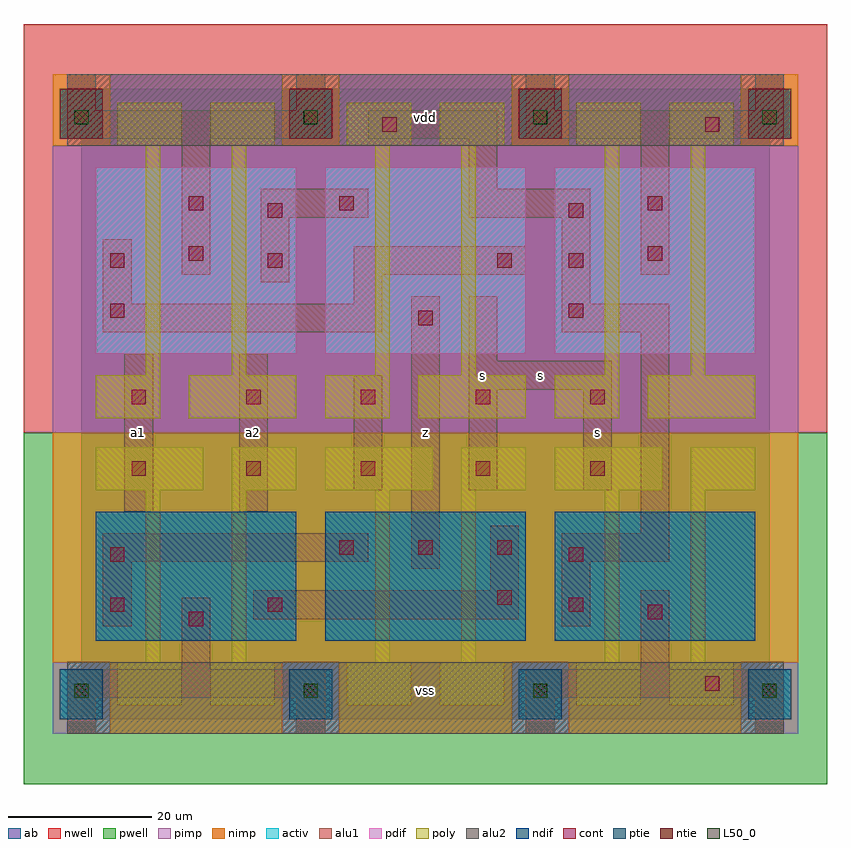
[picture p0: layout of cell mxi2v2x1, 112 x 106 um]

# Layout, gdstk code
import gdstk
lib = gdstk.Library(unit=1e-6, precision=1e-09)
def R(c, l, rs):  # rectangles x0, y0, x1, y1
    for r in rs: c.add(gdstk.rectangle(r[:2], r[2:], *l))
def A(c, l, x, y, w, h, nx, ny, dx, dy):  # array of equal rectangles
    R(c, l, [(x+i*dx, y+j*dy, x+i*dx+w, y+j*dy+h) for i in range(nx) for j in range(ny)])
ndif = (3, 0)
pdif = (4, 0)
ntie = (5, 0)
ptie = (6, 0)
cont = (25, 0)
pwell = (41, 0)
nwell = (42, 0)
activ = (43, 0)
pimp = (44, 0)
nimp = (45, 0)
poly = (46, 0)
alu1 = (49, 0)
L50_0 = (50, 0)
alu2 = (51, 0)
ab = (63, 0)

mxi2v2x1 = lib.new_cell('mxi2v2x1')
A(mxi2v2x1, ndif, 2, 11, 28, 18, 3, 1, 32, 0)
A(mxi2v2x1, pdif, 2, 51, 28, 26, 3, 1, 32, 0)
A(mxi2v2x1, ntie, -3, 81, 6, 7, 4, 1, 32, 0)
A(mxi2v2x1, ptie, -3, 0, 6, 7, 4, 1, 32, 0)
A(mxi2v2x1, cont, -1, 3, 2, 2, 4, 2, 32, 80)
A(mxi2v2x1, cont, 36, 23, 2, 2, 3, 1, 11, 0)
A(mxi2v2x1, cont, 7, 34, 2, 2, 5, 2, 16, 10)
A(mxi2v2x1, cont, 68, 56, 2, 2, 1, 3, 0, 7)
R(mxi2v2x1, cont, [(87,4,89,6), (15,13,17,15), (79,14,81,16), (4,15,6,17), (26,15,28,17), (68,15,70,17), (58,16,60,18), (4,22,6,24), (68,22,70,24), (47,55,49,57), (4,56,6,58), (4,63,6,65), (26,63,28,65), (58,63,60,65), (15,64,17,66), (79,64,81,66), (26,70,28,72), (15,71,17,73), (36,71,38,73), (79,71,81,73), (42,82,44,84), (87,82,89,84)])
R(mxi2v2x1, pwell, [(-8,-9,104,40)])
R(mxi2v2x1, nwell, [(-8,40,104,97)])
A(mxi2v2x1, activ, -3, 0, 6, 7, 4, 2, 32, 81)
A(mxi2v2x1, activ, 2, 11, 28, 18, 3, 1, 32, 0)
A(mxi2v2x1, activ, 2, 51, 28, 26, 3, 1, 32, 0)
A(mxi2v2x1, pimp, -4, -2, 8, 10, 4, 1, 32, 0)
A(mxi2v2x1, pimp, 4, 80, 24, 10, 3, 1, 32, 0)
R(mxi2v2x1, pimp, [(-4,40,100,80)])
A(mxi2v2x1, nimp, 4, -2, 24, 10, 3, 1, 32, 0)
A(mxi2v2x1, nimp, -4, 80, 8, 10, 4, 1, 32, 0)
R(mxi2v2x1, nimp, [(-4,8,100,40)])
A(mxi2v2x1, poly, 2, 32, 15, 6, 3, 1, 32, 0)
A(mxi2v2x1, poly, 21, 32, 9, 6, 3, 1, 32, 0)
A(mxi2v2x1, poly, 2, 42, 9, 6, 3, 1, 32, 0)
A(mxi2v2x1, poly, 15, 42, 15, 6, 3, 1, 32, 0)
R(mxi2v2x1, poly, [(5,2,14,8), (18,2,27,8), (37,2,46,8), (50,2,59,8), (69,2,78,8), (82,2,91,8), (9,8,11,32), (21,8,23,32), (41,8,43,32), (53,8,55,32), (73,8,75,32), (85,8,87,32), (9,48,11,80), (21,48,23,80), (41,48,43,80), (53,48,55,80), (73,48,75,80), (85,48,87,80), (5,80,14,86), (18,80,27,86), (37,80,46,86), (50,80,59,86), (69,80,78,86), (82,80,91,86)])
A(mxi2v2x1, alu1, -2, -2, 4, 5, 4, 2, 32, 87)
R(mxi2v2x1, alu1, [(-2,3,34,7), (62,3,98,7), (14,7,18,17), (78,7,82,18), (3,13,7,22), (67,13,71,22), (24,14,61,18), (57,18,61,27), (46,21,50,59), (3,22,40,26), (67,22,82,26), (78,26,82,54), (6,29,10,51), (22,29,26,51), (38,32,42,48), (54,32,58,46), (70,32,74,46), (54,46,74,50), (54,50,58,59), (3,54,42,58), (67,54,82,58), (3,58,7,67), (38,58,42,62), (67,58,71,70), (25,61,29,70), (14,62,18,81), (38,62,62,66), (78,62,82,81), (25,70,40,74), (54,70,71,74), (54,74,58,81), (-2,81,34,85), (40,81,58,85), (62,81,98,85)])
A(mxi2v2x1, L50_0, -1, 3, 2, 2, 4, 2, 32, 80)
R(mxi2v2x1, alu2, [(-2,-2,98,8), (-2,80,98,90)])
R(mxi2v2x1, ab, [(0,0,96,88)])
mxi2v2x1.add(gdstk.Label('a1', (8,40), layer=49, texttype=0))
mxi2v2x1.add(gdstk.Label('a2', (24,40), layer=49, texttype=0))
mxi2v2x1.add(gdstk.Label('z', (48,40), layer=49, texttype=0))
mxi2v2x1.add(gdstk.Label('s', (56,48), layer=49, texttype=0))
mxi2v2x1.add(gdstk.Label('s', (64,48), layer=49, texttype=0))
mxi2v2x1.add(gdstk.Label('s', (72,40), layer=49, texttype=0))
mxi2v2x1.add(gdstk.Label('vss', (48,4), layer=51, texttype=0))
mxi2v2x1.add(gdstk.Label('vdd', (48,84), layer=51, texttype=0))

lib.write_gds('mxi2v2x1.gds')
